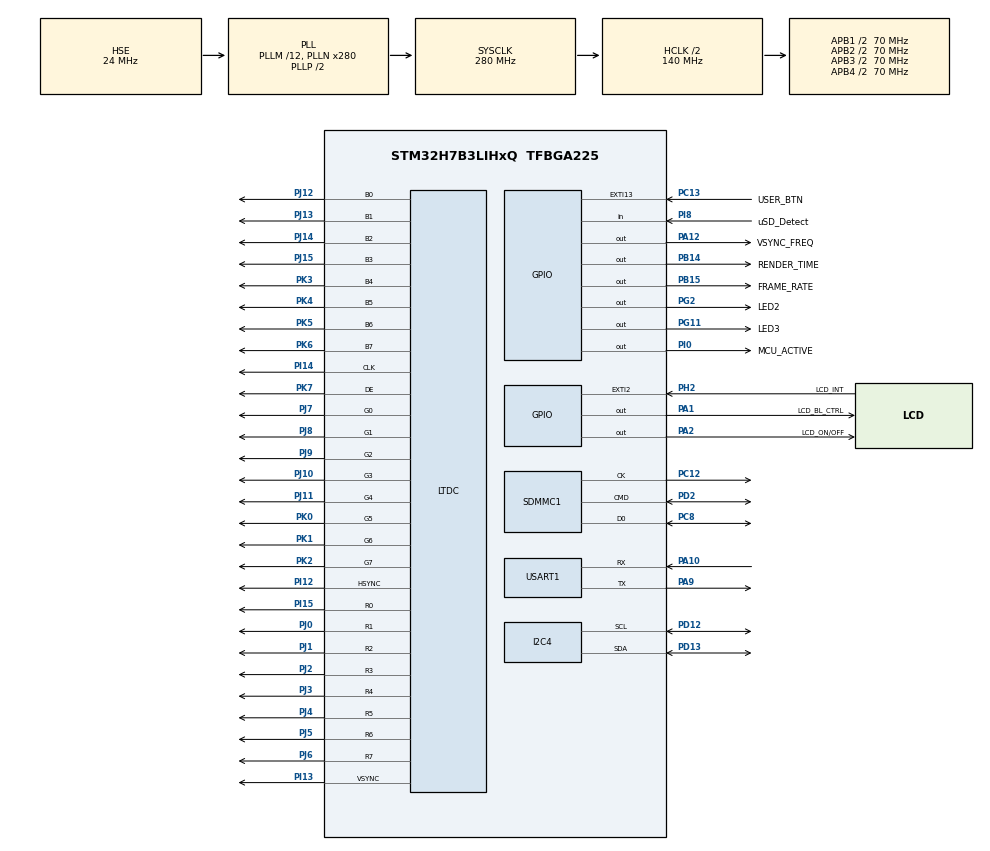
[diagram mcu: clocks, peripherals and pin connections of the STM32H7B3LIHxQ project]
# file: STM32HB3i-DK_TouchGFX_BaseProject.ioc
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CORTEX_M7.AccessPermission-Cortex_Memory_Protection_Unit_Region1_Settings=MPU_REGION_FULL_ACCESS
CORTEX_M7.AccessPermission-Cortex_Memory_Protection_Unit_Region2_Settings=MPU_REGION_FULL_ACCESS
CORTEX_M7.AccessPermission-Cortex_Memory_Protection_Unit_Region3_Settings=MPU_REGION_FULL_ACCESS
CORTEX_M7.BaseAddress-Cortex_Memory_Protection_Unit_Region1_Settings=0x90000000
CORTEX_M7.BaseAddress-Cortex_Memory_Protection_Unit_Region2_Settings=0x24000000
CORTEX_M7.BaseAddress-Cortex_Memory_Protection_Unit_Region3_Settings=0x24000000
CORTEX_M7.CPU_DCache=Enabled
CORTEX_M7.CPU_ICache=Enabled
CORTEX_M7.DisableExec-Cortex_Memory_Protection_Unit_Region0_Settings=MPU_INSTRUCTION_ACCESS_DISABLE
CORTEX_M7.DisableExec-Cortex_Memory_Protection_Unit_Region1_Settings=MPU_INSTRUCTION_ACCESS_DISABLE
CORTEX_M7.DisableExec-Cortex_Memory_Protection_Unit_Region2_Settings=MPU_INSTRUCTION_ACCESS_DISABLE
CORTEX_M7.DisableExec-Cortex_Memory_Protection_Unit_Region3_Settings=MPU_INSTRUCTION_ACCESS_DISABLE
CORTEX_M7.Enable-Cortex_Memory_Protection_Unit_Region0_Settings=MPU_REGION_ENABLE
CORTEX_M7.Enable-Cortex_Memory_Protection_Unit_Region1_Settings=MPU_REGION_ENABLE
CORTEX_M7.Enable-Cortex_Memory_Protection_Unit_Region2_Settings=MPU_REGION_ENABLE
CORTEX_M7.Enable-Cortex_Memory_Protection_Unit_Region3_Settings=MPU_REGION_ENABLE
CORTEX_M7.IsBufferable-Cortex_Memory_Protection_Unit_Region3_Settings=MPU_ACCESS_BUFFERABLE
CORTEX_M7.IsCacheable-Cortex_Memory_Protection_Unit_Region1_Settings=MPU_ACCESS_CACHEABLE
CORTEX_M7.IsCacheable-Cortex_Memory_Protection_Unit_Region2_Settings=MPU_ACCESS_CACHEABLE
CORTEX_M7.IsCacheable-Cortex_Memory_Protection_Unit_Region3_Settings=MPU_ACCESS_CACHEABLE
CORTEX_M7.MPU_Control=MPU_PRIVILEGED_DEFAULT
CORTEX_M7.Size-Cortex_Memory_Protection_Unit_Region0_Settings=MPU_REGION_SIZE_4GB
CORTEX_M7.Size-Cortex_Memory_Protection_Unit_Region1_Settings=MPU_REGION_SIZE_64MB
CORTEX_M7.Size-Cortex_Memory_Protection_Unit_Region2_Settings=MPU_REGION_SIZE_1MB
CORTEX_M7.Size-Cortex_Memory_Protection_Unit_Region3_Settings=MPU_REGION_SIZE_256KB
CORTEX_M7.SubRegionDisable-Cortex_Memory_Protection_Unit_Region0_Settings=0x87
CORTEX_M7.default_mode_Activation=0
DMA2D.ColorMode=DMA2D_OUTPUT_RGB565
FATFS.BSP.number=1
FATFS0.BSP.STBoard=false
FATFS0.BSP.api=Unknown
FATFS0.BSP.instance=PI8
FATFS0.BSP.ip=GPIO
FATFS0.BSP.mode=Input
FATFS0.BSP.name=Detect_SDIO
FATFS0.BSP.solution=PI8
FREERTOS.Tasks01=GUI_Task,24,1024,TouchGFX_Task,As weak,NULL,Dynamic,NULL,NULL;LEDblink_task,8,128,Start_LEDblink_task,Default,NULL,Dynamic,NULL,NULL;InterruptTask,24,128,Start_InterruptTask,Default,NULL,Dynamic,NULL,NULL
I2C4.Analog_Filter=I2C_ANALOGFILTER_DISABLE
I2C4.Timing=0x10808AD0
LTDC.ActiveH=272
LTDC.ActiveW=480
LTDC.Alpha_L0=255
LTDC.Blue_L0=255
LTDC.HBP=2
LTDC.HFP=32
LTDC.HSync=41
LTDC.ImageHeight_L0=272
LTDC.ImageWidth_L0=480
LTDC.Layers=0
LTDC.PixelFormat_L0=LTDC_PIXEL_FORMAT_RGB888
LTDC.VSync=10
LTDC.WindowX1_L0=480
LTDC.WindowY1_L0=272
Mcu.Family=STM32H7
Mcu.Name=STM32H7B3LIHxQ
Mcu.Package=TFBGA225
NVIC.DMA2D_IRQn=true\:5\:0\:false\:false\:true\:true\:true\:true\:true
NVIC.EXTI15_10_IRQn=true\:5\:0\:true\:false\:true\:true\:true\:true\:true
NVIC.EXTI2_IRQn=true\:5\:0\:true\:false\:true\:true\:true\:true\:true
NVIC.LTDC_IRQn=true\:5\:0\:false\:false\:true\:true\:true\:true\:true
NVIC.OCTOSPI1_IRQn=true\:5\:0\:false\:false\:true\:true\:true\:true\:true
NVIC.PriorityGroup=NVIC_PRIORITYGROUP_4
NVIC.TIM6_DAC_IRQn=true\:15\:0\:false\:false\:true\:false\:false\:true\:true
NVIC.TimeBase=TIM6_DAC_IRQn
NVIC.TimeBaseIP=TIM6
OCTOSPI1.ChipSelectHighTime=2
OCTOSPI1.ClockPrescaler=3
OCTOSPI1.DeviceSize=26
OCTOSPI1.FifoThreshold=32
OCTOSPI1.SampleShifting=HAL_OSPI_SAMPLE_SHIFTING_HALFCYCLE
PA1.GPIO_Label=LCD_BL_CTRL
PA1.Signal=GPIO_Output
PA10.Mode=Asynchronous
PA10.Signal=USART1_RX
PA12.GPIO_Label=VSYNC_FREQ
PA12.Signal=GPIO_Output
PA2.GPIO_Label=LCD_ON/OFF
PA2.GPIO_PuPd=GPIO_PULLUP
PA2.Signal=GPIO_Output
PA9.Mode=Asynchronous
PA9.Signal=USART1_TX
PB14.GPIO_Label=RENDER_TIME
PB14.Signal=GPIO_Output
PB15.GPIO_Label=FRAME_RATE
PB15.Signal=GPIO_Output
PC12.Mode=SD_1_bit
PC12.Signal=SDMMC1_CK
PC13.GPIO_Label=USER_BTN
PC13.Signal=GPXTI13
PC8.GPIO_PuPd=GPIO_PULLUP
PC8.Mode=SD_1_bit
PC8.Signal=SDMMC1_D0
PD12.GPIO_Speed=GPIO_SPEED_FREQ_HIGH
PD12.Mode=I2C
PD12.Signal=I2C4_SCL
PD13.GPIO_Speed=GPIO_SPEED_FREQ_HIGH
PD13.Mode=I2C
PD13.Signal=I2C4_SDA
PD2.GPIO_PuPd=GPIO_PULLUP
PD2.Mode=SD_1_bit
PD2.Signal=SDMMC1_CMD
PG11.GPIO_Label=LED3
PG11.Signal=GPIO_Output
PG2.GPIO_Label=LED2
PG2.Signal=GPIO_Output
PH0-OSC_IN.Mode=HSE-External-Oscillator
PH0-OSC_IN.Signal=RCC_OSC_IN
PH1-OSC_OUT.Mode=HSE-External-Oscillator
PH1-OSC_OUT.Signal=RCC_OSC_OUT
PH2.GPIO_Label=LCD_INT
PH2.GPIO_PuPd=GPIO_PULLUP
PH2.Signal=GPXTI2
PI0.GPIO_Label=MCU_ACTIVE
PI0.Signal=GPIO_Output
PI12.Mode=RGB888
PI12.Signal=LTDC_HSYNC
PI13.Mode=RGB888
PI13.Signal=LTDC_VSYNC
PI14.Mode=RGB888
PI14.Signal=LTDC_CLK
PI15.Mode=RGB888
PI15.Signal=LTDC_R0
PI8.GPIO_Label=uSD_Detect
PI8.GPIO_PuPd=GPIO_PULLUP
PI8.Signal=GPIO_Input
PJ0.Mode=RGB888
PJ0.Signal=LTDC_R1
PJ1.Mode=RGB888
PJ1.Signal=LTDC_R2
PJ10.Mode=RGB888
PJ10.Signal=LTDC_G3
PJ11.Mode=RGB888
PJ11.Signal=LTDC_G4
PJ12.Mode=RGB888
PJ12.Signal=LTDC_B0
PJ13.Mode=RGB888
PJ13.Signal=LTDC_B1
PJ14.Mode=RGB888
PJ14.Signal=LTDC_B2
PJ15.Mode=RGB888
PJ15.Signal=LTDC_B3
PJ2.Mode=RGB888
PJ2.Signal=LTDC_R3
PJ3.Mode=RGB888
PJ3.Signal=LTDC_R4
PJ4.Mode=RGB888
PJ4.Signal=LTDC_R5
PJ5.Mode=RGB888
PJ5.Signal=LTDC_R6
PJ6.Mode=RGB888
PJ6.Signal=LTDC_R7
PJ7.Mode=RGB888
PJ7.Signal=LTDC_G0
PJ8.Mode=RGB888
PJ8.Signal=LTDC_G1
PJ9.Mode=RGB888
PJ9.Signal=LTDC_G2
PK0.Mode=RGB888
PK0.Signal=LTDC_G5
PK1.Mode=RGB888
PK1.Signal=LTDC_G6
PK2.Mode=RGB888
PK2.Signal=LTDC_G7
PK3.Mode=RGB888
PK3.Signal=LTDC_B4
PK4.Mode=RGB888
PK4.Signal=LTDC_B5
PK5.Mode=RGB888
PK5.Signal=LTDC_B6
PK6.Mode=RGB888
PK6.Signal=LTDC_B7
PK7.Mode=RGB888
PK7.Signal=LTDC_DE
ProjectManager.HeapSize=0x1000
ProjectManager.StackSize=0x1000
ProjectManager.TargetToolchain=STM32CubeIDE
RCC.ADCFreq_Value=64000488.28125
RCC.APB1Freq_Value=70000000
RCC.APB2Freq_Value=70000000
RCC.APB3Freq_Value=70000000
RCC.APB4Freq_Value=70000000
RCC.CDPPRE=RCC_APB3_DIV2
RCC.CDPPRE1=RCC_APB1_DIV2
RCC.CDPPRE2=RCC_APB2_DIV2
RCC.CortexFreq_Value=280000000
RCC.DIVM1=12
RCC.DIVM2=2
RCC.DIVM3=24
RCC.DIVN1=280
RCC.DIVN2=10
RCC.DIVN3=288
RCC.DIVP3=17
RCC.DIVR1=4
RCC.DIVR2=1
RCC.DIVR3=30
RCC.FMCCLockSelection=RCC_FMCCLKSOURCE_PLL2
RCC.HCLKFreq_Value=140000000
RCC.HPRE=RCC_HCLK_DIV2
RCC.HSE_VALUE=24000000
RCC.HSICalibrationValue=32
RCC.HSIDiv=RCC_PLLSAIDIVR_2
RCC.PLL2FRACN=5462
RCC.PLL3FRACN=0
RCC.PLLFRACN=0
RCC.PLLSourceVirtual=RCC_PLLSOURCE_HSE
RCC.QSPICLockSelection=RCC_OSPICLKSOURCE_PLL2
RCC.RCC_MCO1Source=RCC_MCO1SOURCE_HSE
RCC.RTCClockSelection=RCC_RTCCLKSOURCE_LSE
RCC.SDMMC1CLockSelection=RCC_SDMMCCLKSOURCE_PLL2
RCC.SPI123CLockSelection=RCC_SPI123CLKSOURCE_CLKP
RCC.SRDPPRE=RCC_APB4_DIV2
RCC.SYSCLKFreq_VALUE=280000000
RCC.SYSCLKSource=RCC_SYSCLKSOURCE_PLLCLK
RCC.SupplySource=PWR_DIRECT_SMPS_SUPPLY
RCC.USBFreq_Value=280000000
SDMMC1.ClockDiv=8
STMicroelectronics.X-CUBE-TOUCHGFX.4.22.1.ApplicationCcGraphicsJjApplication=TouchGFXOoGenerator
STMicroelectronics.X-CUBE-TOUCHGFX.4.22.1.tgfx_buffering_strategy=Double
STMicroelectronics.X-CUBE-TOUCHGFX.4.22.1.tgfx_display_interface=disp_ltdc
STMicroelectronics.X-CUBE-TOUCHGFX.4.22.1.tgfx_hardware_accelerator=dma_2d
STMicroelectronics.X-CUBE-TOUCHGFX.4.22.1.tgfx_vsync=vsync_ltdc
STMicroelectronics.X-CUBE-TOUCHGFX.4.22.1_IsPackSelfContextualization=true
USART1.VirtualMode-Asynchronous=VM_ASYNC
VP_CRC_VS_CRC.Mode=CRC_Activate
VP_DMA2D_VS_DMA2D.Mode=DMA2D_Activate
VP_FATFS_VS_SDIO.Mode=SDIO
VP_FREERTOS_VS_CMSIS_V2.Mode=CMSIS_V2
VP_OCTOSPI1_VS_octo.Mode=octo_mode
VP_STMicroelectronics.X-CUBE-TOUCHGFX_VS_GraphicsJjApplication_4.22.1.Mode=GraphicsJjApplication
VP_SYS_VS_tim6.Mode=TIM6
board=STM32H7B3I-DK

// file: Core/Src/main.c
/* USER CODE BEGIN Header */
/**
  ******************************************************************************
  * @file           : main.c
  * @brief          : Main program body
  ******************************************************************************
  * @attention
  *
  * Copyright (c) 2023 STMicroelectronics.
  * All rights reserved.
  *
  * This software is licensed under terms that can be found in the LICENSE file
  * in the root directory of this software component.
  * If no LICENSE file comes with this software, it is provided AS-IS.
  *
  ******************************************************************************
  */
/* USER CODE END Header */
#include "main.h"
#include "cmsis_os.h"
#include "fatfs.h"
#include "app_touchgfx.h"

/* USER CODE BEGIN Includes */
#include "stm32h7b3i_discovery_ospi.h"
#include "SDCard.h"
/* USER CODE END Includes */

CRC_HandleTypeDef hcrc;

DMA2D_HandleTypeDef hdma2d;

I2C_HandleTypeDef hi2c4;

LTDC_HandleTypeDef hltdc;

OSPI_HandleTypeDef hospi1;

SD_HandleTypeDef hsd1;

UART_HandleTypeDef huart1;

/* Definitions for GUI_Task */
osThreadId_t GUI_TaskHandle;
const osThreadAttr_t GUI_Task_attributes = {
  .name = "GUI_Task",
  .stack_size = 1024 * 4,
  .priority = (osPriority_t) osPriorityNormal,
};
/* Definitions for LEDblink_task */
osThreadId_t LEDblink_taskHandle;
const osThreadAttr_t LEDblink_task_attributes = {
  .name = "LEDblink_task",
  .stack_size = 128 * 4,
  .priority = (osPriority_t) osPriorityLow,
};
/* Definitions for InterruptTask */
osThreadId_t InterruptTaskHandle;
const osThreadAttr_t InterruptTask_attributes = {
  .name = "InterruptTask",
  .stack_size = 128 * 4,
  .priority = (osPriority_t) osPriorityNormal,
};

void SystemClock_Config(void);
void PeriphCommonClock_Config(void);
static void MPU_Initialize(void);
static void MPU_Config(void);
static void MX_GPIO_Init(void);
static void MX_CRC_Init(void);
static void MX_DMA2D_Init(void);
static void MX_I2C4_Init(void);
static void MX_LTDC_Init(void);
static void MX_OCTOSPI1_Init(void);
static void MX_USART1_UART_Init(void);
static void MX_SDMMC1_SD_Init(void);
void TouchGFX_Task(void *argument);
void Start_LEDblink_task(void *argument);
void Start_InterruptTask(void *argument);

/* USER CODE BEGIN PFP */
char buffer[100];
int indx = 0;

/* USER CODE END PFP */

int main(void)
{

  /* Enable I-Cache---------------------------------------------------------*/
  SCB_EnableICache();

  /* Enable D-Cache---------------------------------------------------------*/
  SCB_EnableDCache();

  /* MCU Configuration--------------------------------------------------------*/

  /* Reset of all peripherals, Initializes the Flash interface and the Systick. */
  HAL_Init();

  /* MPU Configuration--------------------------------------------------------*/
  MPU_Config();

  /* Configure the system clock */
  SystemClock_Config();

/* Configure the peripherals common clocks */
  PeriphCommonClock_Config();

  /* Initialize all configured peripherals */
  MX_GPIO_Init();
  MX_CRC_Init();
  MX_DMA2D_Init();
  MX_I2C4_Init();
  MX_LTDC_Init();
  MX_OCTOSPI1_Init();
  MX_USART1_UART_Init();
  MX_SDMMC1_SD_Init();
  MX_FATFS_Init();
  MX_TouchGFX_Init();
  /* Call PreOsInit function */
  MX_TouchGFX_PreOSInit();

  /* Init scheduler */
  osKernelInitialize();

  /* Create the thread(s) */
  /* creation of GUI_Task */
  GUI_TaskHandle = osThreadNew(TouchGFX_Task, NULL, &GUI_Task_attributes);

  /* creation of LEDblink_task */
  LEDblink_taskHandle = osThreadNew(Start_LEDblink_task, NULL, &LEDblink_task_attributes);

  /* creation of InterruptTask */
  InterruptTaskHandle = osThreadNew(Start_InterruptTask, NULL, &InterruptTask_attributes);

  /* USER CODE BEGIN RTOS_THREADS */
  /* add threads, ... */
  Mount_SD("/");
  Format_SD();
  	Create_File("FILE1.TXT");
	sprintf(buffer, "Hello ---> %d\n", indx);
	Update_File("FILE1.TXT", buffer);
  //Create_File("FILE1.TXT");
  //Create_File("FILE2.TXT");
  Unmount_SD("/");
  /* USER CODE END RTOS_THREADS */

  /* Start scheduler */
  osKernelStart();

  /* We should never get here as control is now taken by the scheduler */
  /* Infinite loop */
  while (1)
  {

  }
}

void SystemClock_Config(void)
{
  RCC_OscInitTypeDef RCC_OscInitStruct = {0};
  RCC_ClkInitTypeDef RCC_ClkInitStruct = {0};

  /*AXI clock gating */
  RCC->CKGAENR = 0xFFFFFFFF;

  /** Supply configuration update enable
  */
  HAL_PWREx_ConfigSupply(PWR_DIRECT_SMPS_SUPPLY);

  /** Configure the main internal regulator output voltage
  */
  __HAL_PWR_VOLTAGESCALING_CONFIG(PWR_REGULATOR_VOLTAGE_SCALE0);

  while(!__HAL_PWR_GET_FLAG(PWR_FLAG_VOSRDY)) {}

  /** Initializes the RCC Oscillators according to the specified parameters
  * in the RCC_OscInitTypeDef structure.
  */
  RCC_OscInitStruct.OscillatorType = RCC_OSCILLATORTYPE_HSE;
  RCC_OscInitStruct.HSEState = RCC_HSE_ON;
  RCC_OscInitStruct.PLL.PLLState = RCC_PLL_ON;
  RCC_OscInitStruct.PLL.PLLSource = RCC_PLLSOURCE_HSE;
  RCC_OscInitStruct.PLL.PLLM = 12;
  RCC_OscInitStruct.PLL.PLLN = 280;
  RCC_OscInitStruct.PLL.PLLP = 2;
  RCC_OscInitStruct.PLL.PLLQ = 2;
  RCC_OscInitStruct.PLL.PLLR = 4;
  RCC_OscInitStruct.PLL.PLLRGE = RCC_PLL1VCIRANGE_1;
  RCC_OscInitStruct.PLL.PLLVCOSEL = RCC_PLL1VCOWIDE;
  RCC_OscInitStruct.PLL.PLLFRACN = 0;
  if (HAL_RCC_OscConfig(&RCC_OscInitStruct) != HAL_OK)
  {
    Error_Handler();
  }

  /** Initializes the CPU, AHB and APB buses clocks
  */
  RCC_ClkInitStruct.ClockType = RCC_CLOCKTYPE_HCLK|RCC_CLOCKTYPE_SYSCLK
                              |RCC_CLOCKTYPE_PCLK1|RCC_CLOCKTYPE_PCLK2
                              |RCC_CLOCKTYPE_D3PCLK1|RCC_CLOCKTYPE_D1PCLK1;
  RCC_ClkInitStruct.SYSCLKSource = RCC_SYSCLKSOURCE_PLLCLK;
  RCC_ClkInitStruct.SYSCLKDivider = RCC_SYSCLK_DIV1;
  RCC_ClkInitStruct.AHBCLKDivider = RCC_HCLK_DIV2;
  RCC_ClkInitStruct.APB3CLKDivider = RCC_APB3_DIV2;
  RCC_ClkInitStruct.APB1CLKDivider = RCC_APB1_DIV2;
  RCC_ClkInitStruct.APB2CLKDivider = RCC_APB2_DIV2;
  RCC_ClkInitStruct.APB4CLKDivider = RCC_APB4_DIV2;

  if (HAL_RCC_ClockConfig(&RCC_ClkInitStruct, FLASH_LATENCY_3) != HAL_OK)
  {
    Error_Handler();
  }
}

void PeriphCommonClock_Config(void)
{
  RCC_PeriphCLKInitTypeDef PeriphClkInitStruct = {0};

  /** Initializes the peripherals clock
  */
  PeriphClkInitStruct.PeriphClockSelection = RCC_PERIPHCLK_OSPI|RCC_PERIPHCLK_SDMMC;
  PeriphClkInitStruct.PLL2.PLL2M = 2;
  PeriphClkInitStruct.PLL2.PLL2N = 10;
  PeriphClkInitStruct.PLL2.PLL2P = 2;
  PeriphClkInitStruct.PLL2.PLL2Q = 2;
  PeriphClkInitStruct.PLL2.PLL2R = 1;
  PeriphClkInitStruct.PLL2.PLL2RGE = RCC_PLL2VCIRANGE_3;
  PeriphClkInitStruct.PLL2.PLL2VCOSEL = RCC_PLL2VCOWIDE;
  PeriphClkInitStruct.PLL2.PLL2FRACN = 5462;
  PeriphClkInitStruct.OspiClockSelection = RCC_OSPICLKSOURCE_PLL2;
  PeriphClkInitStruct.SdmmcClockSelection = RCC_SDMMCCLKSOURCE_PLL2;
  if (HAL_RCCEx_PeriphCLKConfig(&PeriphClkInitStruct) != HAL_OK)
  {
    Error_Handler();
  }
}

static void MX_CRC_Init(void)
{

  hcrc.Instance = CRC;
  hcrc.Init.DefaultPolynomialUse = DEFAULT_POLYNOMIAL_ENABLE;
  hcrc.Init.DefaultInitValueUse = DEFAULT_INIT_VALUE_ENABLE;
  hcrc.Init.InputDataInversionMode = CRC_INPUTDATA_INVERSION_NONE;
  hcrc.Init.OutputDataInversionMode = CRC_OUTPUTDATA_INVERSION_DISABLE;
  hcrc.InputDataFormat = CRC_INPUTDATA_FORMAT_BYTES;
  if (HAL_CRC_Init(&hcrc) != HAL_OK)
  {
    Error_Handler();
  }

}

static void MX_DMA2D_Init(void)
{

  hdma2d.Instance = DMA2D;
  hdma2d.Init.Mode = DMA2D_M2M;
  hdma2d.Init.ColorMode = DMA2D_OUTPUT_RGB565;
  hdma2d.Init.OutputOffset = 0;
  hdma2d.LayerCfg[1].InputOffset = 0;
  hdma2d.LayerCfg[1].InputColorMode = DMA2D_INPUT_RGB565;
  hdma2d.LayerCfg[1].AlphaMode = DMA2D_NO_MODIF_ALPHA;
  hdma2d.LayerCfg[1].InputAlpha = 0;
  hdma2d.LayerCfg[1].AlphaInverted = DMA2D_REGULAR_ALPHA;
  hdma2d.LayerCfg[1].RedBlueSwap = DMA2D_RB_REGULAR;
  hdma2d.LayerCfg[1].ChromaSubSampling = DMA2D_NO_CSS;
  if (HAL_DMA2D_Init(&hdma2d) != HAL_OK)
  {
    Error_Handler();
  }
  if (HAL_DMA2D_ConfigLayer(&hdma2d, 1) != HAL_OK)
  {
    Error_Handler();
  }

}

static void MX_I2C4_Init(void)
{

  hi2c4.Instance = I2C4;
  hi2c4.Init.Timing = 0x10808AD0;
  hi2c4.Init.OwnAddress1 = 0;
  hi2c4.Init.AddressingMode = I2C_ADDRESSINGMODE_7BIT;
  hi2c4.Init.DualAddressMode = I2C_DUALADDRESS_DISABLE;
  hi2c4.Init.OwnAddress2 = 0;
  hi2c4.Init.OwnAddress2Masks = I2C_OA2_NOMASK;
  hi2c4.Init.GeneralCallMode = I2C_GENERALCALL_DISABLE;
  hi2c4.Init.NoStretchMode = I2C_NOSTRETCH_DISABLE;
  if (HAL_I2C_Init(&hi2c4) != HAL_OK)
  {
    Error_Handler();
  }

  /** Configure Analogue filter
  */
  if (HAL_I2CEx_ConfigAnalogFilter(&hi2c4, I2C_ANALOGFILTER_DISABLE) != HAL_OK)
  {
    Error_Handler();
  }

  /** Configure Digital filter
  */
  if (HAL_I2CEx_ConfigDigitalFilter(&hi2c4, 0) != HAL_OK)
  {
    Error_Handler();
  }

}

static void MX_LTDC_Init(void)
{

  LTDC_LayerCfgTypeDef pLayerCfg = {0};

  hltdc.Instance = LTDC;
  hltdc.Init.HSPolarity = LTDC_HSPOLARITY_AL;
  hltdc.Init.VSPolarity = LTDC_VSPOLARITY_AL;
  hltdc.Init.DEPolarity = LTDC_DEPOLARITY_AL;
  hltdc.Init.PCPolarity = LTDC_PCPOLARITY_IPC;
  hltdc.Init.HorizontalSync = 40;
  hltdc.Init.VerticalSync = 9;
  hltdc.Init.AccumulatedHBP = 42;
  hltdc.Init.AccumulatedVBP = 11;
  hltdc.Init.AccumulatedActiveW = 522;
  hltdc.Init.AccumulatedActiveH = 283;
  hltdc.Init.TotalWidth = 554;
  hltdc.Init.TotalHeigh = 285;
  hltdc.Init.Backcolor.Blue = 0;
  hltdc.Init.Backcolor.Green = 0;
  hltdc.Init.Backcolor.Red = 0;
  if (HAL_LTDC_Init(&hltdc) != HAL_OK)
  {
    Error_Handler();
  }
  pLayerCfg.WindowX0 = 0;
  pLayerCfg.WindowX1 = 480;
  pLayerCfg.WindowY0 = 0;
  pLayerCfg.WindowY1 = 272;
  pLayerCfg.PixelFormat = LTDC_PIXEL_FORMAT_RGB888;
  pLayerCfg.Alpha = 255;
  pLayerCfg.Alpha0 = 0;
  pLayerCfg.BlendingFactor1 = LTDC_BLENDING_FACTOR1_CA;
  pLayerCfg.BlendingFactor2 = LTDC_BLENDING_FACTOR2_CA;
  pLayerCfg.FBStartAdress = 0;
  pLayerCfg.ImageWidth = 480;
  pLayerCfg.ImageHeight = 272;
  pLayerCfg.Backcolor.Blue = 255;
  pLayerCfg.Backcolor.Green = 0;
  pLayerCfg.Backcolor.Red = 0;
  if (HAL_LTDC_ConfigLayer(&hltdc, &pLayerCfg, 0) != HAL_OK)
  {
    Error_Handler();
  }

}

static void MX_OCTOSPI1_Init(void)
{

  /* USER CODE BEGIN OCTOSPI1_Init 0 */
  OSPI_MemoryMappedTypeDef sMemMappedCfg = {0};
  /* USER CODE END OCTOSPI1_Init 0 */

  /* OCTOSPI1 parameter configuration*/
  hospi1.Instance = OCTOSPI1;
  hospi1.Init.FifoThreshold = 32;
  hospi1.Init.DualQuad = HAL_OSPI_DUALQUAD_DISABLE;
  hospi1.Init.MemoryType = HAL_OSPI_MEMTYPE_MICRON;
  hospi1.Init.DeviceSize = 26;
  hospi1.Init.ChipSelectHighTime = 2;
  hospi1.Init.FreeRunningClock = HAL_OSPI_FREERUNCLK_DISABLE;
  hospi1.Init.ClockMode = HAL_OSPI_CLOCK_MODE_0;
  hospi1.Init.WrapSize = HAL_OSPI_WRAP_NOT_SUPPORTED;
  hospi1.Init.ClockPrescaler = 3;
  hospi1.Init.SampleShifting = HAL_OSPI_SAMPLE_SHIFTING_HALFCYCLE;
  hospi1.Init.DelayHoldQuarterCycle = HAL_OSPI_DHQC_DISABLE;
  hospi1.Init.ChipSelectBoundary = 0;
  hospi1.Init.DelayBlockBypass = HAL_OSPI_DELAY_BLOCK_BYPASSED;
  hospi1.Init.MaxTran = 0;
  hospi1.Init.Refresh = 0;
  if (HAL_OSPI_Init(&hospi1) != HAL_OK)
  {
    Error_Handler();
  }
  /* USER CODE BEGIN OCTOSPI1_Init 2 */
  sMemMappedCfg.TimeOutActivation = HAL_OSPI_TIMEOUT_COUNTER_DISABLE;
  sMemMappedCfg.TimeOutPeriod = 1;

  if (HAL_OSPI_MemoryMapped(&hospi1, &sMemMappedCfg) != HAL_OK)
  {
    Error_Handler();
  }
  BSP_OSPI_NOR_Init_t Flash;
  Flash.InterfaceMode = BSP_OSPI_NOR_OPI_MODE;
  Flash.TransferRate  = BSP_OSPI_NOR_DTR_TRANSFER;
  BSP_OSPI_NOR_DeInit(0);
  int32_t RetVal = BSP_OSPI_NOR_Init(0, &Flash);
  if(RetVal != BSP_ERROR_NONE)
  {
    Error_Handler();
  }
  RetVal = BSP_OSPI_NOR_EnableMemoryMappedMode(0);
  if(RetVal != BSP_ERROR_NONE)
  {
    Error_Handler();
  }
  /* USER CODE END OCTOSPI1_Init 2 */

}

static void MX_SDMMC1_SD_Init(void)
{

  hsd1.Instance = SDMMC1;
  hsd1.Init.ClockEdge = SDMMC_CLOCK_EDGE_RISING;
  hsd1.Init.ClockPowerSave = SDMMC_CLOCK_POWER_SAVE_DISABLE;
  hsd1.Init.BusWide = SDMMC_BUS_WIDE_1B;
  hsd1.Init.HardwareFlowControl = SDMMC_HARDWARE_FLOW_CONTROL_DISABLE;
  hsd1.Init.ClockDiv = 8;
  /* USER CODE BEGIN SDMMC1_Init 2 */
#ifdef DEBUG
  if(HAL_SD_Init(&hsd1) != HAL_OK)
  {
		Send_Uart("ERROR in HAL_SD_Init\r\n");
  }else
  {
	  Send_Uart("HAL_SD_Init Successful \r\n");
  }
#endif
  /* USER CODE END SDMMC1_Init 2 */

}

static void MX_USART1_UART_Init(void)
{

  huart1.Instance = USART1;
  huart1.Init.BaudRate = 115200;
  huart1.Init.WordLength = UART_WORDLENGTH_8B;
  huart1.Init.StopBits = UART_STOPBITS_1;
  huart1.Init.Parity = UART_PARITY_NONE;
  huart1.Init.Mode = UART_MODE_TX_RX;
  huart1.Init.HwFlowCtl = UART_HWCONTROL_NONE;
  huart1.Init.OverSampling = UART_OVERSAMPLING_16;
  huart1.Init.OneBitSampling = UART_ONE_BIT_SAMPLE_DISABLE;
  huart1.Init.ClockPrescaler = UART_PRESCALER_DIV1;
  huart1.AdvancedInit.AdvFeatureInit = UART_ADVFEATURE_NO_INIT;
  if (HAL_UART_Init(&huart1) != HAL_OK)
  {
    Error_Handler();
  }
  if (HAL_UARTEx_SetTxFifoThreshold(&huart1, UART_TXFIFO_THRESHOLD_1_8) != HAL_OK)
  {
    Error_Handler();
  }
  if (HAL_UARTEx_SetRxFifoThreshold(&huart1, UART_RXFIFO_THRESHOLD_1_8) != HAL_OK)
  {
    Error_Handler();
  }
  if (HAL_UARTEx_DisableFifoMode(&huart1) != HAL_OK)
  {
    Error_Handler();
  }
  /* USER CODE BEGIN USART1_Init 2 */
#ifdef DEBUG
  uint8_t MSG[] = "Initializing...\n\r";
  HAL_UART_Transmit(&huart1, MSG, sizeof(MSG),HAL_MAX_DELAY);
#endif
  /* USER CODE END USART1_Init 2 */

}

static void MX_GPIO_Init(void)
{
  GPIO_InitTypeDef GPIO_InitStruct = {0};

  /* GPIO Ports Clock Enable */
  __HAL_RCC_GPIOK_CLK_ENABLE();
  __HAL_RCC_GPIOG_CLK_ENABLE();
  __HAL_RCC_GPIOJ_CLK_ENABLE();
  __HAL_RCC_GPIOD_CLK_ENABLE();
  __HAL_RCC_GPIOC_CLK_ENABLE();
  __HAL_RCC_GPIOI_CLK_ENABLE();
  __HAL_RCC_GPIOA_CLK_ENABLE();
  __HAL_RCC_GPIOH_CLK_ENABLE();
  __HAL_RCC_GPIOB_CLK_ENABLE();

  /*Configure GPIO pin Output Level */
  HAL_GPIO_WritePin(GPIOG, LED3_Pin|LED2_Pin, GPIO_PIN_RESET);

  /*Configure GPIO pin Output Level */
  HAL_GPIO_WritePin(MCU_ACTIVE_GPIO_Port, MCU_ACTIVE_Pin, GPIO_PIN_RESET);

  /*Configure GPIO pin Output Level */
  HAL_GPIO_WritePin(GPIOA, VSYNC_FREQ_Pin|LCD_BL_CTRL_Pin|LCD_ON_OFF_Pin, GPIO_PIN_RESET);

  /*Configure GPIO pin Output Level */
  HAL_GPIO_WritePin(GPIOB, RENDER_TIME_Pin|FRAME_RATE_Pin, GPIO_PIN_RESET);

  /*Configure GPIO pins : LED3_Pin LED2_Pin */
  GPIO_InitStruct.Pin = LED3_Pin|LED2_Pin;
  GPIO_InitStruct.Mode = GPIO_MODE_OUTPUT_PP;
  GPIO_InitStruct.Pull = GPIO_NOPULL;
  GPIO_InitStruct.Speed = GPIO_SPEED_FREQ_LOW;
  HAL_GPIO_Init(GPIOG, &GPIO_InitStruct);

  /*Configure GPIO pin : uSD_Detect_Pin */
  GPIO_InitStruct.Pin = uSD_Detect_Pin;
  GPIO_InitStruct.Mode = GPIO_MODE_INPUT;
  GPIO_InitStruct.Pull = GPIO_PULLUP;
  HAL_GPIO_Init(uSD_Detect_GPIO_Port, &GPIO_InitStruct);

  /*Configure GPIO pin : MCU_ACTIVE_Pin */
  GPIO_InitStruct.Pin = MCU_ACTIVE_Pin;
  GPIO_InitStruct.Mode = GPIO_MODE_OUTPUT_PP;
  GPIO_InitStruct.Pull = GPIO_NOPULL;
  GPIO_InitStruct.Speed = GPIO_SPEED_FREQ_LOW;
  HAL_GPIO_Init(MCU_ACTIVE_GPIO_Port, &GPIO_InitStruct);

  /*Configure GPIO pins : VSYNC_FREQ_Pin LCD_BL_CTRL_Pin */
  GPIO_InitStruct.Pin = VSYNC_FREQ_Pin|LCD_BL_CTRL_Pin;
  GPIO_InitStruct.Mode = GPIO_MODE_OUTPUT_PP;
  GPIO_InitStruct.Pull = GPIO_NOPULL;
  GPIO_InitStruct.Speed = GPIO_SPEED_FREQ_LOW;
  HAL_GPIO_Init(GPIOA, &GPIO_InitStruct);

  /*Configure GPIO pin : USER_BTN_Pin */
  GPIO_InitStruct.Pin = USER_BTN_Pin;
  GPIO_InitStruct.Mode = GPIO_MODE_IT_RISING;
  GPIO_InitStruct.Pull = GPIO_NOPULL;
  HAL_GPIO_Init(USER_BTN_GPIO_Port, &GPIO_InitStruct);

  /*Configure GPIO pin : LCD_INT_Pin */
  GPIO_InitStruct.Pin = LCD_INT_Pin;
  GPIO_InitStruct.Mode = GPIO_MODE_IT_RISING;
  GPIO_InitStruct.Pull = GPIO_PULLUP;
  HAL_GPIO_Init(LCD_INT_GPIO_Port, &GPIO_InitStruct);

  /*Configure GPIO pins : RENDER_TIME_Pin FRAME_RATE_Pin */
  GPIO_InitStruct.Pin = RENDER_TIME_Pin|FRAME_RATE_Pin;
  GPIO_InitStruct.Mode = GPIO_MODE_OUTPUT_PP;
  GPIO_InitStruct.Pull = GPIO_NOPULL;
  GPIO_InitStruct.Speed = GPIO_SPEED_FREQ_LOW;
  HAL_GPIO_Init(GPIOB, &GPIO_InitStruct);

  /*Configure GPIO pin : LCD_ON_OFF_Pin */
  GPIO_InitStruct.Pin = LCD_ON_OFF_Pin;
  GPIO_InitStruct.Mode = GPIO_MODE_OUTPUT_PP;
  GPIO_InitStruct.Pull = GPIO_PULLUP;
  GPIO_InitStruct.Speed = GPIO_SPEED_FREQ_LOW;
  HAL_GPIO_Init(LCD_ON_OFF_GPIO_Port, &GPIO_InitStruct);

  /* EXTI interrupt init*/
  HAL_NVIC_SetPriority(EXTI2_IRQn, 5, 0);
  HAL_NVIC_EnableIRQ(EXTI2_IRQn);

  HAL_NVIC_SetPriority(EXTI15_10_IRQn, 5, 0);
  HAL_NVIC_EnableIRQ(EXTI15_10_IRQn);

}

/* USER CODE BEGIN 4 */
volatile uint32_t userButtonPressed = 0;
void HAL_GPIO_EXTI_Callback(uint16_t GPIO_Pin)
{
	if (GPIO_Pin == USER_BTN_Pin)
	{
		userButtonPressed = 1;
	}
}
/* USER CODE END 4 */

__weak void TouchGFX_Task(void *argument)
{
  for(;;)
  {
    osDelay(1);
  }
}

void Start_LEDblink_task(void *argument)
{
  /* USER CODE BEGIN Start_LEDblink_task */
  /* Infinite loop */
  for(;;)
  {
	  HAL_GPIO_TogglePin(LED2_GPIO_Port, LED2_Pin);
	#ifdef DEBUG
	  uint8_t MSG[] = "Blink\n\r";
	  HAL_UART_Transmit(&huart1, MSG, sizeof(MSG),HAL_MAX_DELAY);
	#endif
	  osDelay(2000);
  }
  /* USER CODE END Start_LEDblink_task */
}

void Start_InterruptTask(void *argument)
{
  /* USER CODE BEGIN Start_InterruptTask */
  /* Infinite loop */
  for(;;)
  {
	  if(userButtonPressed == 1)
	  {
		  userButtonPressed = 0;
		  Mount_SD("/");
		  Format_SD();
		  HAL_Delay(2000);
		  Unmount_SD("/");
	  }
    osDelay(10);
  }
  /* USER CODE END Start_InterruptTask */
}

/* MPU Configuration */

void MPU_Config(void)
{
  MPU_Region_InitTypeDef MPU_InitStruct = {0};

  /* Disables the MPU */
  HAL_MPU_Disable();

  /** Initializes and configures the Region and the memory to be protected
  */
  MPU_InitStruct.Enable = MPU_REGION_ENABLE;
  MPU_InitStruct.Number = MPU_REGION_NUMBER0;
  MPU_InitStruct.BaseAddress = 0x0;
  MPU_InitStruct.Size = MPU_REGION_SIZE_4GB;
  MPU_InitStruct.SubRegionDisable = 0x87;
  MPU_InitStruct.TypeExtField = MPU_TEX_LEVEL0;
  MPU_InitStruct.AccessPermission = MPU_REGION_NO_ACCESS;
  MPU_InitStruct.DisableExec = MPU_INSTRUCTION_ACCESS_DISABLE;
  MPU_InitStruct.IsShareable = MPU_ACCESS_NOT_SHAREABLE;
  MPU_InitStruct.IsCacheable = MPU_ACCESS_NOT_CACHEABLE;
  MPU_InitStruct.IsBufferable = MPU_ACCESS_NOT_BUFFERABLE;

  HAL_MPU_ConfigRegion(&MPU_InitStruct);

  /** Initializes and configures the Region and the memory to be protected
  */
  MPU_InitStruct.Number = MPU_REGION_NUMBER1;
  MPU_InitStruct.BaseAddress = 0x90000000;
  MPU_InitStruct.Size = MPU_REGION_SIZE_64MB;
  MPU_InitStruct.SubRegionDisable = 0x0;
  MPU_InitStruct.AccessPermission = MPU_REGION_FULL_ACCESS;
  MPU_InitStruct.IsCacheable = MPU_ACCESS_CACHEABLE;

  HAL_MPU_ConfigRegion(&MPU_InitStruct);

  /** Initializes and configures the Region and the memory to be protected
  */
  MPU_InitStruct.Number = MPU_REGION_NUMBER2;
  MPU_InitStruct.BaseAddress = 0x24000000;
  MPU_InitStruct.Size = MPU_REGION_SIZE_1MB;

  HAL_MPU_ConfigRegion(&MPU_InitStruct);

  /** Initializes and configures the Region and the memory to be protected
  */
  MPU_InitStruct.Number = MPU_REGION_NUMBER3;
  MPU_InitStruct.Size = MPU_REGION_SIZE_256KB;
  MPU_InitStruct.IsBufferable = MPU_ACCESS_BUFFERABLE;

  HAL_MPU_ConfigRegion(&MPU_InitStruct);
  /* Enables the MPU */
  HAL_MPU_Enable(MPU_PRIVILEGED_DEFAULT);

}

void HAL_TIM_PeriodElapsedCallback(TIM_HandleTypeDef *htim)
{
  if (htim->Instance == TIM6) {
    HAL_IncTick();
  }
}

void Error_Handler(void)
{
}
